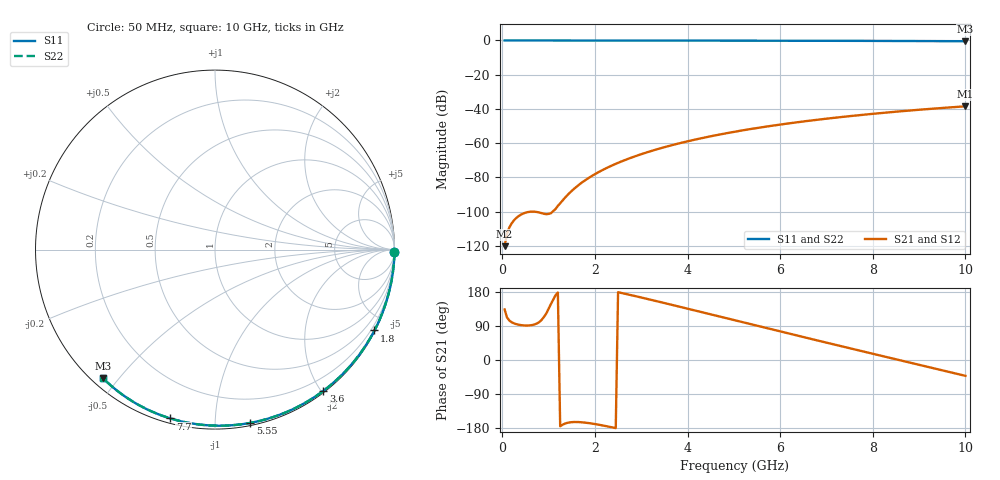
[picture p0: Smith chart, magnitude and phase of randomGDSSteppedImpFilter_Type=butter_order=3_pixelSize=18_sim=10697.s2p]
! freq	dB(S11)	phase(S11)	dB(S12)	phase(S12)
!  dB(S21)	phase(S21)	dB(S22)	phase(S22)
!S-par simulation data
#  GHz  S  DB  R 50
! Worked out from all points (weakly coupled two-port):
!   200 points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, 50 MHz to 10 GHz, reference 50 ohm
!   highest |S21| = -38.48 dB at 10 GHz (marker M1); lowest = -120.2 dB at 50 MHz (marker M2)
!   lowest |S11| = -0.4 dB at 10 GHz (marker M3), VSWR 39.01, Z = 1.55 - j22.7 ohm
!   |S11| at or under -10 dB: nowhere
!   |S22| runs from -0.4 to 0.0 dB; largest |S21 - S12| = 0
!   S11 on the Smith chart (normalised r, x): 50 MHz: open; 1.8 GHz: 0.04, -4.19; 3.6 GHz: 0.02, -2.03; 5.55 GHz: 0.02, -1.22; 7.7 GHz: 0.02, -0.77; 10 GHz: 0.03, -0.45
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0.05  -0.00 -0.8  -120.17 133.5  -120.17 133.5  -0.00 -0.8
0.9  -0.02 -13.6  -101.25 113.8  -101.25 113.8  -0.02 -13.6
1.75  -0.03 -26.1  -82.40 -164.7  -82.40 -164.7  -0.03 -26.1
1.8  -0.03 -26.9  -81.46 -165.4  -81.46 -165.4  -0.03 -26.9
1.85  -0.04 -27.6  -80.57 -166.2  -80.57 -166.2  -0.04 -27.6
1.9  -0.04 -28.3  -79.71 -167.0  -79.71 -167.0  -0.04 -28.3
2.05  -0.04 -30.5  -77.34 -170.0  -77.34 -170.0  -0.04 -30.5
2.25  -0.04 -33.4  -74.54 -174.7  -74.54 -174.7  -0.04 -33.4
2.45  -0.05 -36.3  -72.06 -179.8  -72.06 -179.8  -0.05 -36.3
2.65  -0.05 -39.2  -69.84 174.8  -69.84 174.8  -0.05 -39.2
3  -0.06 -44.1  -66.44 165.0  -66.44 165.0  -0.06 -44.1
3.4  -0.07 -49.8  -63.10 153.3  -63.10 153.3  -0.07 -49.8
3.6  -0.07 -52.5  -61.61 147.4  -61.61 147.4  -0.07 -52.5
4.3  -0.09 -62.1  -57.10 126.5  -57.10 126.5  -0.09 -62.1
5.05  -0.11 -72.0  -53.17 104.0  -53.17 104.0  -0.11 -72.0
5.55  -0.13 -78.5  -50.94 88.9  -50.94 88.9  -0.13 -78.5
6.1  -0.15 -85.4  -48.75 72.5  -48.75 72.5  -0.15 -85.4
6.7  -0.18 -92.8  -46.65 54.7  -46.65 54.7  -0.18 -92.8
7.7  -0.24 -104.8  -43.65 25.2  -43.65 25.2  -0.24 -104.8
8.35  -0.29 -112.4  -41.98 6.3  -41.98 6.3  -0.29 -112.4
9.15  -0.36 -121.5  -40.15 -17.0  -40.15 -17.0  -0.36 -121.5
10  -0.45 -131.1  -38.48 -41.8  -38.48 -41.8  -0.45 -131.1
